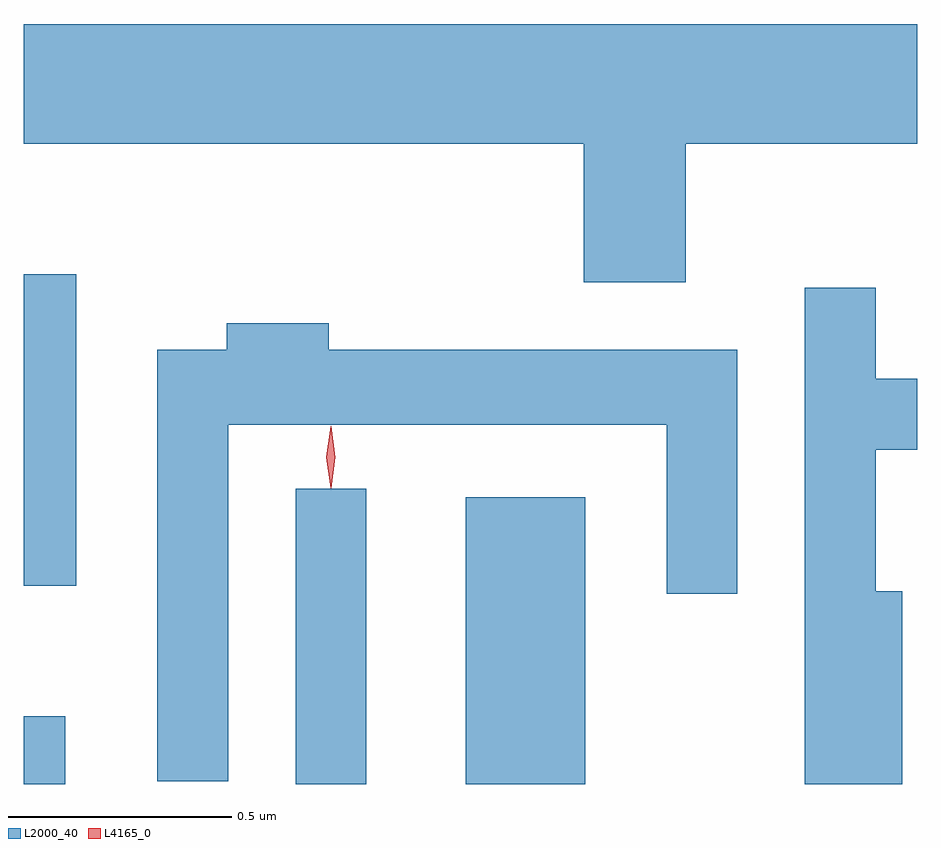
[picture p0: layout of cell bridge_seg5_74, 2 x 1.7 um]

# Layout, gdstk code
import gdstk
lib = gdstk.Library(unit=1e-6, precision=1e-09)
def R(c, l, rs):  # rectangles x0, y0, x1, y1
    for r in rs: c.add(gdstk.rectangle(r[:2], r[2:], *l))
def P(c, l, *ps):  # polygons
    for p in ps: c.add(gdstk.Polygon(p, *l))
L2000_40 = (2000, 40)
L4165_0 = (4165, 0)

bridge_seg5_74 = lib.new_cell('bridge_seg5_74')
R(bridge_seg5_74, L2000_40, [(1270.987,1470.902,1271.079,1471.054), (1271.596,1470.902,1271.754,1471.563), (1271.976,1470.902,1272.244,1471.544), (1270.987,1471.346,1271.104,1472.044)])
P(bridge_seg5_74, L2000_40, [(1272.469,1472.336),(1272.987,1472.336),(1272.987,1472.604),(1270.987,1472.604),(1270.987,1472.336),(1272.241,1472.336),(1272.241,1472.026),(1272.469,1472.026)],
  [(1272.954,1471.334),(1272.894,1471.334),(1272.894,1471.651),(1272.987,1471.651),(1272.987,1471.809),(1272.894,1471.809),(1272.894,1472.013),(1272.736,1472.013),(1272.736,1470.902),(1272.954,1470.902)],
  [(1271.444,1471.706),(1272.426,1471.706),(1272.426,1471.328),(1272.584,1471.328),(1272.584,1471.874),(1271.669,1471.874),(1271.669,1471.934),(1271.441,1471.934),(1271.441,1471.874),(1271.286,1471.874),(1271.286,1470.908),(1271.444,1470.908)])
P(bridge_seg5_74, L4165_0, [(1271.674,1471.564),(1271.674,1471.564),(1271.664,1471.634),(1271.674,1471.703),(1271.674,1471.703),(1271.675,1471.703),(1271.684,1471.634),(1271.675,1471.564)])

lib.write_gds('bridge_seg5_74.gds')
